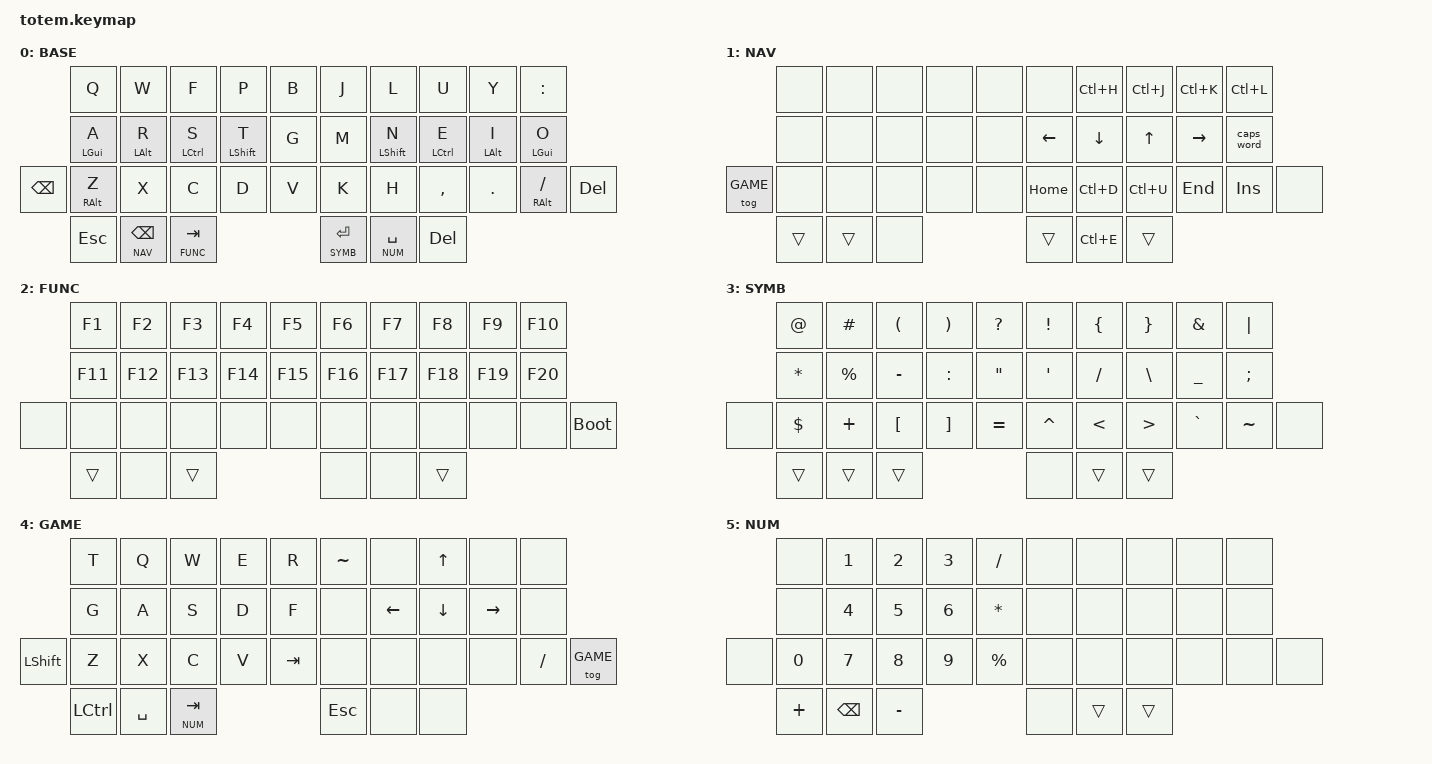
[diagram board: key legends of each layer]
//
//                                                        ▀▀▀▀▀     ▀▀▀▀▀          ▀▀█▀▀
//                                                        ▄▀▀▀▄  ▄  ▄▀▀▀▄  ▄  ▄▀▀▀▄  █  ▄▀▀▀▄
//                                                        █   █  █  █   █  █  █   █  █  █   █
//                                                         ▀▀▀   █   ▀▀▀   █   ▀▀▀   ▀   ▀▀▀
//                                                               █      ▄▄▄█▄▄▄    █   █
//                                                               ▀      █  █  █     █▄█
//                                                             ▀▀▀▀▀    █  █  █      ▀
//                                                                      ▀  ▀  ▀
//
// ▄▄▄▄▄▄▄▄▄▄▄▄▄▄▄▄▄▄▄▄▄▄▄▄▄▄▄▄▄▄▄▄▄▄▄▄▄▄▄▄▄▄▄▄▄▄▄▄▄▄▄▄▄▄▄▄▄▄▄▄▄▄▄▄▄▄▄▄▄▄▄▄▄▄▄▄▄▄▄▄▄▄▄▄▄▄▄▄▄▄▄▄▄▄▄▄▄▄▄▄▄▄▄▄▄▄▄▄▄▄▄▄▄▄▄▄▄▄▄▄▄▄▄▄▄▄▄▄▄▄▄▄▄▄▄▄▄▄▄▄▄▄▄▄▄▄▄▄▄


#include <behaviors.dtsi>
#include <dt-bindings/zmk/keys.h>
#include <dt-bindings/zmk/bt.h>
#include <dt-bindings/zmk/outputs.h>
#include <dt-bindings/zmk/pointing.h>

#define BASE 0
#define NAV 1
#define FUNC 2
#define SYMB 3
#define GAME 4
#define NUM 5

&mt {
    tapping-term-ms = <200>;
    require-prior-idle-ms = <150>;
    global-quick-tap;
    flavor = "balanced";
};

&lt {
    tapping-term-ms = <200>;
    require-prior-idle-ms = <150>;
    global-quick-tap;
    flavor = "balanced";
};

/ {
    keymap {
        compatible = "zmk,keymap";
        // ▄▄▄▄▄▄▄▄▄▄▄▄▄▄▄▄▄▄▄▄▄▄▄▄▄▄▄▄▄▄▄▄▄▄▄▄▄▄▄▄▄▄▄▄▄▄▄▄▄▄▄▄▄▄▄▄▄▄▄▄▄▄▄▄▄▄▄▄▄▄▄▄▄▄▄▄▄▄▄▄▄▄▄▄▄▄▄▄▄▄▄▄▄▄▄▄▄▄▄▄▄▄▄▄▄▄▄▄▄▄▄▄▄▄▄▄▄▄▄▄▄▄▄▄▄▄▄▄▄▄▄▄▄▄▄▄▄▄▄▄▄▄▄▄▄▄▄▄▄

        base_layer {
            // ┏━━━━━━━━━━━━━━━━━━━━━━━━━━━━━━━━━━━━━━━┓
            label= "BASE"                              ;
            // ┗━━━━━━━━━━━━━━━━━━━━━━━━━━━━━━━━━━━━━━━┛
            //             ┏━━━━━━━━━━━┳━━━━━━━━━━━┳━━━━━━━━━━━┳━━━━━━━━━━━┳━━━━━━━━━━━┓   ┏━━━━━━━━━━━┳━━━━━━━━━━━┳━━━━━━━━━━━┳━━━━━━━━━━━┳━━━━━━━━━━━┓
            //             ┃     Q     ┃     W     ┃     F     ┃     P     ┃     B     ┃   ┃     J     ┃     L     ┃     U     ┃     Y     ┃     :     ┃
            //             ┣━━━━━━━━━━━╋━━━━━━━━━━━╋━━━━━━━━━━━╋━━━━━━━━━━━╋━━━━━━━━━━━┫   ┣━━━━━━━━━━━╋━━━━━━━━━━━╋━━━━━━━━━━━╋━━━━━━━━━━━╋━━━━━━━━━━━┫
            //             ┃     A     ┃     R     ┃     S     ┃     T     ┃     G     ┃   ┃     M     ┃     N     ┃     E     ┃     I     ┃     O     ┃
            // ┏━━━━━━━━━━━╋━━━━━━━━━━━╋━━━━━━━━━━━╋━━━━━━━━━━━╋━━━━━━━━━━━╋━━━━━━━━━━━┫   ┣━━━━━━━━━━━╋━━━━━━━━━━━╋━━━━━━━━━━━╋━━━━━━━━━━━╋━━━━━━━━━━━╋━━━━━━━━━━━┓
            // ┃     Q     ┃     Z     ┃     X     ┃     C     ┃     D     ┃     V     ┃   ┃     K     ┃     H     ┃     ,     ┃     .     ┃     /     ┃     \     ┃
            // ┗━━━━━━━━━━━┻━━━━━━━━━━━┻━━━━━━━━━━━╋━━━━━━━━━━━╋━━━━━━━━━━━╋━━━━━━━━━━━┫   ┣━━━━━━━━━━━╋━━━━━━━━━━━╋━━━━━━━━━━━╋━━━━━━━━━━━┻━━━━━━━━━━━┻━━━━━━━━━━━┛
            //                                     ┃    ESC    ┃    BSPC   ┃    TAB    ┃   ┃   ENTER   ┃    SPC    ┃    DEL    ┃
            //                                     ┗━━━━━━━━━━━┻━━━━━━━━━━━┻━━━━━━━━━━━┛   ┗━━━━━━━━━━━┻━━━━━━━━━━━┻━━━━━━━━━━━┛
            bindings = <
                // ╷           ╷           ╷           ╷           ╷           ╷           ╷   ╷           ╷           ╷           ╷           ╷           ╷           ╷

                &kp Q       &kp W       &kp F       &kp P       &kp B       &kp J       &kp L       &kp U       &kp Y       &kp COLON
                &mt LGUI A  &mt LALT R  &mt LCTRL S &mt LSHFT T &kp G       &kp M       &mt LSHFT N &mt LCTRL E &mt LALT I  &mt LGUI O
    &kp BSPC    &mt RALT Z  &kp X       &kp C       &kp D       &kp V       &kp K       &kp H       &kp COMMA   &kp DOT     &mt RALT FSLH &kp DEL
                &kp ESC     &lt NAV BSPC &lt FUNC TAB                        &lt SYMB RET &lt NUM SPC &kp DEL
            >;
        };

        // ▄▄▄▄▄▄▄▄▄▄▄▄▄▄▄▄▄▄▄▄▄▄▄▄▄▄▄▄▄▄▄▄▄▄▄▄▄▄▄▄▄▄▄▄▄▄▄▄▄▄▄▄▄▄▄▄▄▄▄▄▄▄▄▄▄▄▄▄▄▄▄▄▄▄▄▄▄▄▄▄▄▄▄▄▄▄▄▄▄▄▄▄▄▄▄▄▄▄▄▄▄▄▄▄▄▄▄▄▄▄▄▄▄▄▄▄▄▄▄▄▄▄▄▄▄▄▄▄▄▄▄▄▄▄▄▄▄▄▄▄▄▄▄▄▄▄▄▄▄


        nav_layer {
            // ┏━━━━━━━━━━━━━━━━━━━━━━━━━━━━━━━━━━━━━━━┓
            label= "NAV"                              ;
            // ┗━━━━━━━━━━━━━━━━━━━━━━━━━━━━━━━━━━━━━━━┛
            //             ┏━━━━━━━━━━━┳━━━━━━━━━━━┳━━━━━━━━━━━┳━━━━━━━━━━━┳━━━━━━━━━━━┓   ┏━━━━━━━━━━━┳━━━━━━━━━━━┳━━━━━━━━━━━┳━━━━━━━━━━━┳━━━━━━━━━━━┓
            //             ┃           ┃           ┃           ┃           ┃           ┃   ┃           ┃  LCTRL H  ┃  LCTRL J  ┃  LCTRL K  ┃  LCTRL L  ┃
            //             ┣━━━━━━━━━━━╋━━━━━━━━━━━╋━━━━━━━━━━━╋━━━━━━━━━━━╋━━━━━━━━━━━┫   ┣━━━━━━━━━━━╋━━━━━━━━━━━╋━━━━━━━━━━━╋━━━━━━━━━━━╋━━━━━━━━━━━┫
            //             ┃           ┃           ┃           ┃           ┃           ┃   ┃    Left   ┃   Down    ┃    Up     ┃   Right   ┃    CAPS   ┃
            // ┏━━━━━━━━━━━╋━━━━━━━━━━━╋━━━━━━━━━━━╋━━━━━━━━━━━╋━━━━━━━━━━━╋━━━━━━━━━━━┫   ┣━━━━━━━━━━━╋━━━━━━━━━━━╋━━━━━━━━━━━╋━━━━━━━━━━━╋━━━━━━━━━━━╋━━━━━━━━━━━┓
            // ┃   GAME    ┃           ┃           ┃           ┃           ┃           ┃   ┃    Home   ┃  LCTRL D  ┃  LCTRL U  ┃    END    ┃    INS    ┃           ┃
            // ┗━━━━━━━━━━━┻━━━━━━━━━━━┻━━━━━━━━━━━╋━━━━━━━━━━━╋━━━━━━━━━━━╋━━━━━━━━━━━┫   ┣━━━━━━━━━━━╋━━━━━━━━━━━╋━━━━━━━━━━━╋━━━━━━━━━━━┻━━━━━━━━━━━┻━━━━━━━━━━━┛
            //                                     ┃           ┃           ┃           ┃   ┃           ┃  LCTRL E  ┃           ┃
            //                                     ┗━━━━━━━━━━━┻━━━━━━━━━━━┻━━━━━━━━━━━┛   ┗━━━━━━━━━━━┻━━━━━━━━━━━┻━━━━━━━━━━━┛
            bindings = <
                // ╷           ╷           ╷           ╷           ╷           ╷           ╷   ╷           ╷           ╷           ╷           ╷           ╷           ╷

                &none       &none       &none       &none       &none       &none       &kp LC(H)   &kp LC(J)   &kp LC(K)   &kp LC(L)
                &none       &none       &none       &none       &none       &kp LEFT    &kp DOWN    &kp UP      &kp RIGHT   &caps_word
    &tog GAME   &none       &none       &none       &none       &none       &kp HOME    &kp LC(D)   &kp LC(U)   &kp END     &kp INS     &none
                &trans      &trans      &none                               &trans      &kp LC(E)   &trans
            >;
        };

        // ▄▄▄▄▄▄▄▄▄▄▄▄▄▄▄▄▄▄▄▄▄▄▄▄▄▄▄▄▄▄▄▄▄▄▄▄▄▄▄▄▄▄▄▄▄▄▄▄▄▄▄▄▄▄▄▄▄▄▄▄▄▄▄▄▄▄▄▄▄▄▄▄▄▄▄▄▄▄▄▄▄▄▄▄▄▄▄▄▄▄▄▄▄▄▄▄▄▄▄▄▄▄▄▄▄▄▄▄▄▄▄▄▄▄▄▄▄▄▄▄▄▄▄▄▄▄▄▄▄▄▄▄▄▄▄▄▄▄▄▄▄▄▄▄▄▄▄▄▄


        func_layer {
            // ┏━━━━━━━━━━━━━━━━━━━━━━━━━━━━━━━━━━━━━━━┓
            label= "FUNC"                               ;
            // ┗━━━━━━━━━━━━━━━━━━━━━━━━━━━━━━━━━━━━━━━┛
            //             ┏━━━━━━━━━━━┳━━━━━━━━━━━┳━━━━━━━━━━━┳━━━━━━━━━━━┳━━━━━━━━━━━┓   ┏━━━━━━━━━━━┳━━━━━━━━━━━┳━━━━━━━━━━━┳━━━━━━━━━━━┳━━━━━━━━━━━┓
            //             ┃     F1    ┃     F2    ┃     F3    ┃     F4    ┃     F5    ┃   ┃     F6    ┃     F7    ┃     F8    ┃     F9    ┃     F10   ┃
            //             ┣━━━━━━━━━━━╋━━━━━━━━━━━╋━━━━━━━━━━━╋━━━━━━━━━━━╋━━━━━━━━━━━┫   ┣━━━━━━━━━━━╋━━━━━━━━━━━╋━━━━━━━━━━━╋━━━━━━━━━━━╋━━━━━━━━━━━┫
            //             ┃     F11   ┃     F12   ┃     F13   ┃     F14   ┃     F15   ┃   ┃     F16   ┃     F17   ┃     F18   ┃     F19   ┃     F20   ┃
            // ┏━━━━━━━━━━━╋━━━━━━━━━━━╋━━━━━━━━━━━╋━━━━━━━━━━━╋━━━━━━━━━━━╋━━━━━━━━━━━┫   ┣━━━━━━━━━━━╋━━━━━━━━━━━╋━━━━━━━━━━━╋━━━━━━━━━━━╋━━━━━━━━━━━╋━━━━━━━━━━━┓
            // ┃           ┃           ┃           ┃           ┃           ┃           ┃   ┃           ┃           ┃           ┃           ┃           ┃BOOTLOADER ┃
            // ┗━━━━━━━━━━━┻━━━━━━━━━━━┻━━━━━━━━━━━╋━━━━━━━━━━━╋━━━━━━━━━━━╋━━━━━━━━━━━┫   ┣━━━━━━━━━━━╋━━━━━━━━━━━╋━━━━━━━━━━━╋━━━━━━━━━━━┻━━━━━━━━━━━┻━━━━━━━━━━━┛
            //                                     ┃           ┃           ┃           ┃   ┃           ┃           ┃           ┃
            //                                     ┗━━━━━━━━━━━┻━━━━━━━━━━━┻━━━━━━━━━━━┛   ┗━━━━━━━━━━━┻━━━━━━━━━━━┻━━━━━━━━━━━┛
            bindings = <
                // ╷           ╷           ╷           ╷           ╷           ╷           ╷   ╷           ╷           ╷           ╷           ╷           ╷           ╷

                &kp F1      &kp F2      &kp F3      &kp F4      &kp F5      &kp F6      &kp F7      &kp F8      &kp F9      &kp F10
                &kp F11     &kp F12     &kp F13     &kp F14     &kp F15     &kp F16     &kp F17     &kp F18     &kp F19     &kp F20
    &none       &none       &none       &none       &none       &none       &none       &none       &none       &none       &none       &bootloader
                &trans      &none       &trans                              &none       &none       &trans
            >;
        };

        // ▄▄▄▄▄▄▄▄▄▄▄▄▄▄▄▄▄▄▄▄▄▄▄▄▄▄▄▄▄▄▄▄▄▄▄▄▄▄▄▄▄▄▄▄▄▄▄▄▄▄▄▄▄▄▄▄▄▄▄▄▄▄▄▄▄▄▄▄▄▄▄▄▄▄▄▄▄▄▄▄▄▄▄▄▄▄▄▄▄▄▄▄▄▄▄▄▄▄▄▄▄▄▄▄▄▄▄▄▄▄▄▄▄▄▄▄▄▄▄▄▄▄▄▄▄▄▄▄▄▄▄▄▄▄▄▄▄▄▄▄▄▄▄▄▄▄▄▄▄


        symb_layer {
            // ┏━━━━━━━━━━━━━━━━━━━━━━━━━━━━━━━━━━━━━━━┓
            label= "SYMB"                               ;
            // ┗━━━━━━━━━━━━━━━━━━━━━━━━━━━━━━━━━━━━━━━┛
            //             ┏━━━━━━━━━━━┳━━━━━━━━━━━┳━━━━━━━━━━━┳━━━━━━━━━━━┳━━━━━━━━━━━┓   ┏━━━━━━━━━━━┳━━━━━━━━━━━┳━━━━━━━━━━━┳━━━━━━━━━━━┳━━━━━━━━━━━┓
            //             ┃     @     ┃     #     ┃     (     ┃     )     ┃     ?     ┃   ┃     !     ┃     {     ┃     }     ┃     &     ┃     |     ┃
            //             ┣━━━━━━━━━━━╋━━━━━━━━━━━╋━━━━━━━━━━━╋━━━━━━━━━━━╋━━━━━━━━━━━┫   ┣━━━━━━━━━━━╋━━━━━━━━━━━╋━━━━━━━━━━━╋━━━━━━━━━━━╋━━━━━━━━━━━┫
            //             ┃     *     ┃     %     ┃     -     ┃     :     ┃     "     ┃   ┃     '     ┃     /     ┃     \     ┃     _     ┃     ;     ┃
            // ┏━━━━━━━━━━━╋━━━━━━━━━━━╋━━━━━━━━━━━╋━━━━━━━━━━━╋━━━━━━━━━━━╋━━━━━━━━━━━┫   ┣━━━━━━━━━━━╋━━━━━━━━━━━╋━━━━━━━━━━━╋━━━━━━━━━━━╋━━━━━━━━━━━╋━━━━━━━━━━━┓
            // ┃           ┃     $     ┃     +     ┃     [     ┃     ]     ┃     =     ┃   ┃     ^     ┃     >     ┃     >     ┃     `     ┃     ~     ┃           ┃
            // ┗━━━━━━━━━━━┻━━━━━━━━━━━┻━━━━━━━━━━━╋━━━━━━━━━━━╋━━━━━━━━━━━╋━━━━━━━━━━━┫   ┣━━━━━━━━━━━╋━━━━━━━━━━━╋━━━━━━━━━━━╋━━━━━━━━━━━┻━━━━━━━━━━━┻━━━━━━━━━━━┛
            //                                     ┃           ┃           ┃           ┃   ┃           ┃           ┃           ┃
            //                                     ┗━━━━━━━━━━━┻━━━━━━━━━━━┻━━━━━━━━━━━┛   ┗━━━━━━━━━━━┻━━━━━━━━━━━┻━━━━━━━━━━━┛
            bindings = <
                // ╷           ╷           ╷           ╷           ╷           ╷           ╷   ╷           ╷           ╷           ╷           ╷           ╷           ╷

                &kp AT      &kp HASH    &kp LPAR    &kp RPAR    &kp QMARK   &kp EXCL    &kp LBRC    &kp RBRC    &kp AMPS    &kp PIPE
                &kp ASTRK   &kp PRCNT   &kp MINUS   &kp COLON   &kp DQT     &kp SQT     &kp FSLH    &kp BSLH    &kp UNDER   &kp SEMI
    &none       &kp DLLR    &kp PLUS    &kp LBKT    &kp RBKT    &kp EQUAL   &kp CARET   &kp LT      &kp GT      &kp GRAVE   &kp TILDE   &none
                &trans      &trans      &trans                              &none       &trans      &trans
            >;
        };

        // ▄▄▄▄▄▄▄▄▄▄▄▄▄▄▄▄▄▄▄▄▄▄▄▄▄▄▄▄▄▄▄▄▄▄▄▄▄▄▄▄▄▄▄▄▄▄▄▄▄▄▄▄▄▄▄▄▄▄▄▄▄▄▄▄▄▄▄▄▄▄▄▄▄▄▄▄▄▄▄▄▄▄▄▄▄▄▄▄▄▄▄▄▄▄▄▄▄▄▄▄▄▄▄▄▄▄▄▄▄▄▄▄▄▄▄▄▄▄▄▄▄▄▄▄▄▄▄▄▄▄▄▄▄▄▄▄▄▄▄▄▄▄▄▄▄▄▄▄▄


        game_layer {
            // ┏━━━━━━━━━━━━━━━━━━━━━━━━━━━━━━━━━━━━━━━┓
            label= "GAME"                              ;
            // ┗━━━━━━━━━━━━━━━━━━━━━━━━━━━━━━━━━━━━━━━┛
            //             ┏━━━━━━━━━━━┳━━━━━━━━━━━┳━━━━━━━━━━━┳━━━━━━━━━━━┳━━━━━━━━━━━┓   ┏━━━━━━━━━━━┳━━━━━━━━━━━┳━━━━━━━━━━━┳━━━━━━━━━━━┳━━━━━━━━━━━┓
            //             ┃     T     ┃     Q     ┃     W     ┃     E     ┃     R     ┃   ┃     ~     ┃           ┃     UP    ┃           ┃           ┃
            //             ┣━━━━━━━━━━━╋━━━━━━━━━━━╋━━━━━━━━━━━╋━━━━━━━━━━━╋━━━━━━━━━━━┫   ┣━━━━━━━━━━━╋━━━━━━━━━━━╋━━━━━━━━━━━╋━━━━━━━━━━━╋━━━━━━━━━━━┫
            //             ┃     G     ┃     A     ┃     S     ┃     D     ┃     F     ┃   ┃           ┃    LEFT   ┃    DOWN   ┃   RIGHT   ┃           ┃
            // ┏━━━━━━━━━━━╋━━━━━━━━━━━╋━━━━━━━━━━━╋━━━━━━━━━━━╋━━━━━━━━━━━╋━━━━━━━━━━━┫   ┣━━━━━━━━━━━╋━━━━━━━━━━━╋━━━━━━━━━━━╋━━━━━━━━━━━╋━━━━━━━━━━━╋━━━━━━━━━━━┓
            // ┃   SHIFT   ┃     Z     ┃     X     ┃     C     ┃     V     ┃     B     ┃   ┃           ┃           ┃           ┃           ┃    /      ┃           ┃
            // ┗━━━━━━━━━━━┻━━━━━━━━━━━┻━━━━━━━━━━━╋━━━━━━━━━━━╋━━━━━━━━━━━╋━━━━━━━━━━━┫   ┣━━━━━━━━━━━╋━━━━━━━━━━━╋━━━━━━━━━━━╋━━━━━━━━━━━┻━━━━━━━━━━━┻━━━━━━━━━━━┛
            //                                     ┃    CTRL   ┃   SPACE   ┃    TAB    ┃   ┃    ESC    ┃           ┃           ┃
            //                                     ┗━━━━━━━━━━━┻━━━━━━━━━━━┻━━━━━━━━━━━┛   ┗━━━━━━━━━━━┻━━━━━━━━━━━┻━━━━━━━━━━━┛
            bindings = <
                // ╷           ╷           ╷           ╷           ╷           ╷           ╷   ╷           ╷           ╷           ╷           ╷           ╷           ╷

                &kp T       &kp Q       &kp W       &kp E       &kp R       &kp TILDE   &none       &kp UP      &none       &none
                &kp G       &kp A       &kp S       &kp D       &kp F       &none       &kp LEFT    &kp DOWN    &kp RIGHT   &none
    &kp LSHIFT  &kp Z       &kp X       &kp C       &kp V       &kp TAB     &none       &none       &none       &none       &kp FSLH    &tog GAME
                &kp LCTRL   &kp SPC     &lt NUM TAB                         &kp ESC     &none       &none
            >;
        };

        // ▄▄▄▄▄▄▄▄▄▄▄▄▄▄▄▄▄▄▄▄▄▄▄▄▄▄▄▄▄▄▄▄▄▄▄▄▄▄▄▄▄▄▄▄▄▄▄▄▄▄▄▄▄▄▄▄▄▄▄▄▄▄▄▄▄▄▄▄▄▄▄▄▄▄▄▄▄▄▄▄▄▄▄▄▄▄▄▄▄▄▄▄▄▄▄▄▄▄▄▄▄▄▄▄▄▄▄▄▄▄▄▄▄▄▄▄▄▄▄▄▄▄▄▄▄▄▄▄▄▄▄▄▄▄▄▄▄▄▄▄▄▄▄▄▄▄▄▄▄


        num_layer {
            // ┏━━━━━━━━━━━━━━━━━━━━━━━━━━━━━━━━━━━━━━━┓
            label= "NUM"                             ;
            // ┗━━━━━━━━━━━━━━━━━━━━━━━━━━━━━━━━━━━━━━━┛
            //             ┏━━━━━━━━━━━┳━━━━━━━━━━━┳━━━━━━━━━━━┳━━━━━━━━━━━┳━━━━━━━━━━━┓   ┏━━━━━━━━━━━┳━━━━━━━━━━━┳━━━━━━━━━━━┳━━━━━━━━━━━┳━━━━━━━━━━━┓
            //             ┃           ┃    1      ┃     2     ┃     3     ┃     /     ┃   ┃           ┃           ┃           ┃           ┃           ┃
            //             ┣━━━━━━━━━━━╋━━━━━━━━━━━╋━━━━━━━━━━━╋━━━━━━━━━━━╋━━━━━━━━━━━┫   ┣━━━━━━━━━━━╋━━━━━━━━━━━╋━━━━━━━━━━━╋━━━━━━━━━━━╋━━━━━━━━━━━┫
            //             ┃           ┃    4      ┃     5     ┃     6     ┃     *     ┃   ┃           ┃           ┃           ┃           ┃           ┃
            // ┏━━━━━━━━━━━╋━━━━━━━━━━━╋━━━━━━━━━━━╋━━━━━━━━━━━╋━━━━━━━━━━━╋━━━━━━━━━━━┫   ┣━━━━━━━━━━━╋━━━━━━━━━━━╋━━━━━━━━━━━╋━━━━━━━━━━━╋━━━━━━━━━━━╋━━━━━━━━━━━┓
            // ┃           ┃     0     ┃    7      ┃     8     ┃     9     ┃     %     ┃   ┃           ┃           ┃           ┃           ┃           ┃           ┃
            // ┗━━━━━━━━━━━┻━━━━━━━━━━━┻━━━━━━━━━━━╋━━━━━━━━━━━╋━━━━━━━━━━━╋━━━━━━━━━━━┫   ┣━━━━━━━━━━━╋━━━━━━━━━━━╋━━━━━━━━━━━╋━━━━━━━━━━━┻━━━━━━━━━━━┻━━━━━━━━━━━┛
            //                                     ┃     +     ┃   BSPC    ┃     -     ┃   ┃           ┃           ┃           ┃
            //                                     ┗━━━━━━━━━━━┻━━━━━━━━━━━┻━━━━━━━━━━━┛   ┗━━━━━━━━━━━┻━━━━━━━━━━━┻━━━━━━━━━━━┛
            bindings = <
                // ╷           ╷           ╷           ╷           ╷           ╷           ╷   ╷           ╷           ╷           ╷           ╷           ╷           ╷

                &none       &kp N1      &kp N2      &kp N3      &kp SLASH                       &none       &none       &none       &none       &none
                &none       &kp N4      &kp N5      &kp N6      &kp ASTRK                       &none       &none       &none       &none       &none
    &none       &kp N0      &kp N7      &kp N8      &kp N9      &kp PRCNT                       &none       &none       &none       &none       &none       &none
                                                &kp PLUS   &kp BSPC    &kp MINUS               &none       &trans      &trans
            >;
        };
    };
};
